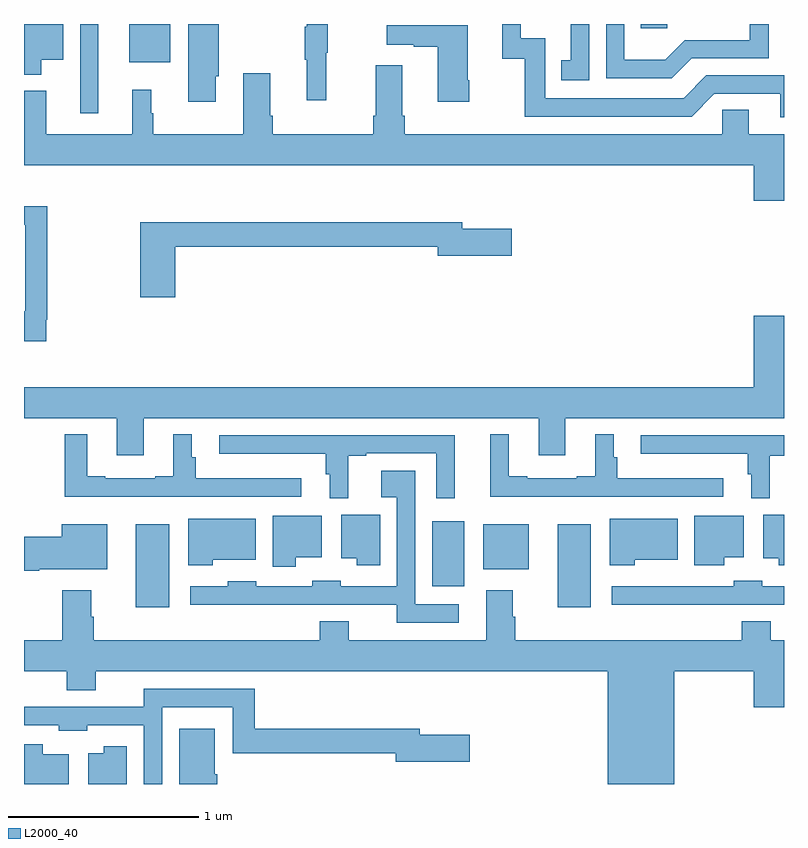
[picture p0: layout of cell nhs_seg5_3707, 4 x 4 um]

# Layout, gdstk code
import gdstk
lib = gdstk.Library(unit=1e-6, precision=1e-09)
def R(c, l, rs):  # rectangles x0, y0, x1, y1
    for r in rs: c.add(gdstk.rectangle(r[:2], r[2:], *l))
def P(c, l, *ps):  # polygons
    for p in ps: c.add(gdstk.Polygon(p, *l))
L2000_40 = (2000, 40)

nhs_seg5_3707 = lib.new_cell('nhs_seg5_3707')
R(nhs_seg5_3707, L2000_40, [(329.588,891.728,329.764,892.165), (331.808,891.728,331.984,892.165), (331.148,891.839,331.318,892.183), (331.418,891.929,331.657,892.165), (329.295,894.33,329.392,894.799), (329.555,894.599,329.77,894.799), (332.245,894.777,332.385,894.799)])
P(nhs_seg5_3707, L2000_40, [(329.092,894.611),(329.206,894.611),(329.206,894.799),(329,894.799),(329,894.533),(329.092,894.533)],
  [(333,894.528),(332.592,894.528),(332.472,894.408),(331.743,894.408),(331.743,894.723),(331.614,894.723),(331.614,894.799),(331.517,894.799),(331.517,894.615),(331.635,894.615),(331.635,894.312),(332.514,894.312),(332.634,894.432),(332.981,894.432),(332.981,894.309),(333,894.309)],
  [(330.01,894.525),(330.025,894.525),(330.025,894.799),(329.864,894.799),(329.864,894.39),(330.01,894.39)],
  [(331.974,894.799),(331.877,894.799),(331.877,894.609),(331.828,894.609),(331.828,894.504),(331.974,894.504)],
  [(330.59,894.648),(330.598,894.648),(330.598,894.799),(330.488,894.799),(330.488,894.785),(330.477,894.785),(330.477,894.611),(330.488,894.611),(330.488,894.399),(330.59,894.399)],
  [(332.515,894.618),(332.919,894.618),(332.919,894.799),(332.82,894.799),(332.82,894.714),(332.478,894.714),(332.374,894.61),(332.16,894.61),(332.16,894.799),(332.064,894.799),(332.064,894.513),(332.41,894.513)],
  [(331.344,894.502),(331.336,894.502),(331.336,894.793),(330.909,894.793),(330.909,894.689),(331.052,894.689),(331.052,894.679),(331.178,894.679),(331.178,894.39),(331.344,894.39)],
  [(333,894.22),(332.815,894.22),(332.815,894.347),(332.676,894.347),(332.676,894.22),(331.004,894.22),(331.004,894.316),(330.991,894.316),(330.991,894.583),(330.851,894.583),(330.851,894.316),(330.839,894.316),(330.839,894.22),(330.308,894.22),(330.308,894.316),(330.295,894.316),(330.295,894.541),(330.155,894.541),(330.155,894.22),(329.68,894.22),(329.68,894.329),(329.669,894.329),(329.669,894.454),(329.57,894.454),(329.57,894.22),(329.117,894.22),(329.117,894.448),(329,894.448),(329,894.056),(332.84,894.056),(332.84,893.868),(333,893.868)],
  [(329.116,893.242),(329.123,893.242),(329.123,893.84),(329,893.84),(329,893.742),(329.007,893.742),(329.007,893.286),(329,893.286),(329,893.13),(329.116,893.13)],
  [(329.795,893.626),(331.178,893.626),(331.178,893.579),(331.567,893.579),(331.567,893.721),(331.306,893.721),(331.306,893.755),(329.612,893.755),(329.612,893.361),(329.795,893.361)],
  [(329.629,892.724),(331.709,892.724),(331.709,892.53),(331.849,892.53),(331.849,892.724),(333,892.724),(333,893.263),(332.84,893.263),(332.84,892.888),(329,892.888),(329,892.724),(329.489,892.724),(329.489,892.53),(329.629,892.53)],
  [(331.98,892.311),(332.68,892.311),(332.68,892.408),(332.123,892.408),(332.123,892.518),(332.104,892.518),(332.104,892.639),(332.006,892.639),(332.006,892.42),(331.91,892.42),(331.91,892.407),(331.648,892.407),(331.648,892.42),(331.552,892.42),(331.552,892.639),(331.454,892.639),(331.454,892.31),(331.98,892.31)],
  [(329.76,892.311),(330.46,892.311),(330.46,892.408),(329.903,892.408),(329.903,892.518),(329.884,892.518),(329.884,892.639),(329.786,892.639),(329.786,892.42),(329.69,892.42),(329.69,892.407),(329.428,892.407),(329.428,892.42),(329.332,892.42),(329.332,892.639),(329.215,892.639),(329.215,892.31),(329.76,892.31)],
  [(330.706,892.527),(330.802,892.527),(330.802,892.539),(331.17,892.539),(331.17,892.302),(331.268,892.302),(331.268,892.635),(330.027,892.635),(330.027,892.538),(330.589,892.538),(330.589,892.428),(330.608,892.428),(330.608,892.302),(330.706,892.302)],
  [(332.926,892.527),(333,892.527),(333,892.635),(332.247,892.635),(332.247,892.538),(332.809,892.538),(332.809,892.428),(332.828,892.428),(332.828,892.302),(332.926,892.302)],
  [(331.288,891.744),(331.059,891.744),(331.059,892.447),(330.879,892.447),(330.879,892.307),(330.963,892.307),(330.963,891.84),(330.666,891.84),(330.666,891.868),(330.516,891.868),(330.516,891.84),(330.222,891.84),(330.222,891.865),(330.072,891.865),(330.072,891.84),(329.874,891.84),(329.874,891.743),(330.961,891.743),(330.961,891.648),(331.288,891.648)],
  [(333,892.216),(332.891,892.216),(332.891,891.986),(332.972,891.986),(332.972,891.95),(333,891.95)],
  [(330.874,892.216),(330.671,892.216),(330.671,891.986),(330.752,891.986),(330.752,891.95),(330.874,891.95)],
  [(332.685,891.992),(332.788,891.992),(332.788,892.21),(332.528,892.21),(332.528,891.95),(332.685,891.95)],
  [(330.43,891.992),(330.568,891.992),(330.568,892.21),(330.308,892.21),(330.308,891.942),(330.43,891.942)],
  [(329.994,891.98),(330.22,891.98),(330.22,892.195),(329.864,892.195),(329.864,891.95),(329.994,891.95)],
  [(332.214,891.98),(332.44,891.98),(332.44,892.195),(332.084,892.195),(332.084,891.95),(332.214,891.95)],
  [(329.08,891.929),(329.437,891.929),(329.437,892.165),(329.198,892.165),(329.198,892.1),(329,892.1),(329,891.922),(329.08,891.922)],
  [(333,891.84),(332.886,891.84),(332.886,891.868),(332.736,891.868),(332.736,891.84),(332.432,891.84),(332.432,891.841),(332.094,891.841),(332.094,891.743),(333,891.743)],
  [(332.422,891.392),(332.84,891.392),(332.84,891.204),(333,891.204),(333,891.556),(332.929,891.556),(332.929,891.655),(332.777,891.655),(332.777,891.556),(331.586,891.556),(331.586,891.68),(331.573,891.68),(331.573,891.82),(331.433,891.82),(331.433,891.556),(330.709,891.556),(330.709,891.655),(330.557,891.655),(330.557,891.556),(329.366,891.556),(329.366,891.68),(329.353,891.68),(329.353,891.82),(329.201,891.82),(329.201,891.556),(329,891.556),(329,891.392),(329.225,891.392),(329.225,891.293),(329.377,891.293),(329.377,891.392),(332.072,891.392),(332.072,890.799),(332.422,890.799)],
  [(329.727,891.204),(330.099,891.204),(330.099,890.962),(330.956,890.962),(330.956,890.915),(331.345,890.915),(331.345,891.057),(331.084,891.057),(331.084,891.091),(330.215,891.091),(330.215,891.3),(329.629,891.3),(329.629,891.206),(329,891.206),(329,891.108),(329.184,891.108),(329.184,891.08),(329.334,891.08),(329.334,891.108),(329.631,891.108),(329.631,890.799),(329.727,890.799)],
  [(330.017,890.851),(330.004,890.851),(330.004,891.091),(329.816,891.091),(329.816,890.799),(330.017,890.799)],
  [(329.236,890.956),(329.098,890.956),(329.098,891.007),(329,891.007),(329,890.799),(329.236,890.799)],
  [(329.542,890.998),(329.42,890.998),(329.42,890.962),(329.339,890.962),(329.339,890.799),(329.542,890.799)])

lib.write_gds('nhs_seg5_3707.gds')
